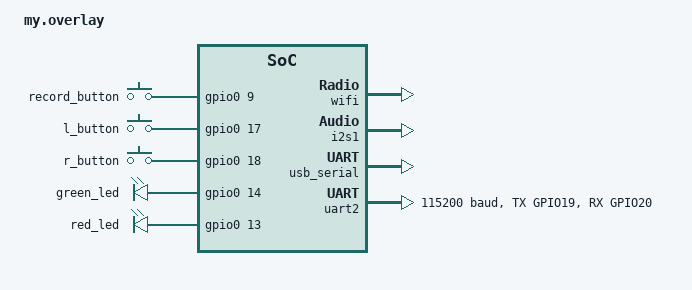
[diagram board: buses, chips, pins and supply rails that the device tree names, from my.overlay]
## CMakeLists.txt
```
cmake_minimum_required(VERSION 3.20.0)

set(BOARD esp32s3_devkitc/esp32s3/procpu)
# set(BOARD ttgo_lora32/esp32/procpu) 


set(DTC_OVERLAY_FILE ${CMAKE_CURRENT_SOURCE_DIR}/my.overlay) 
find_package(Zephyr REQUIRED HINTS $ENV{ZEPHYR_BASE})
project(wifi_example)

target_sources(app PRIVATE src/main.cpp)
target_sources(app PRIVATE src/sound_recording.cpp)
target_sources(app PRIVATE src/access_point.cpp)
target_sources(app PRIVATE src/sound_queue.cpp)
target_sources(app PRIVATE src/network_com.cpp)
target_sources(app PRIVATE src/user_buttons.cpp)
target_sources(app PRIVATE src/speach.cpp)
target_sources(app PRIVATE src/led_controler.cpp)
```

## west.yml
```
manifest:
  remotes:
    - name: zephyrproject-rtos
      url-base: https://github.com/zephyrproject-rtos
    - name: babblesim
      url-base: https://github.com/BabbleSim

  projects:
    - name: zephyr
      remote: zephyrproject-rtos
      revision: v4.1.0
      import: true

  self:
    path: rtk_station
    west-commands: scripts/west-commands.yml
```

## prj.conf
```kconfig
CONFIG_LOG=y
CONFIG_CPP=y
CONFIG_REQUIRES_FULL_LIBC=y
CONFIG_REQUIRES_FULL_LIBCPP=y
CONFIG_DEBUG=y
# CONFIG_DEBUG_COREDUMP=y
# CONFIG_DEBUG_COREDUMP_BACKEND_LOGGING=y
CONFIG_MAIN_THREAD_PRIORITY=10

#fancy led 
# CONFIG_LED_STRIP=y


CONFIG_CONSOLE_SUBSYS=y
CONFIG_CONSOLE_GETLINE=y

CONFIG_UART_INTERRUPT_DRIVEN=y

CONFIG_I2S=y

# Wi-Fi ConfigurationP
CONFIG_WIFI=y
CONFIG_WIFI_ESP32=y

# ip settings
CONFIG_NET_CONFIG_SETTINGS=y
CONFIG_NET_CONFIG_MY_IPV4_NETMASK="255.255.255.0"
CONFIG_NET_CONFIG_MY_IPV4_ADDR="192.168.4.1"

# Network Configuration
CONFIG_NET_CONFIG_AUTO_INIT=n
CONFIG_NET_CONNECTION_MANAGER=y
CONFIG_NET_DHCPV4=y
CONFIG_NET_DHCPV4_SERVER=y
CONFIG_NET_DHCPV4_SERVER_ADDR_COUNT=1
CONFIG_NET_IF_MAX_IPV4_COUNT=2
CONFIG_NET_IF_MAX_IPV6_COUNT=2
CONFIG_NET_IPV4=y
CONFIG_NET_L2_ETHERNET=y
CONFIG_NET_L2_WIFI_MGMT=y
CONFIG_NET_MGMT=y
CONFIG_NET_MGMT_EVENT=y
CONFIG_NET_MGMT_EVENT_INFO=y
CONFIG_NET_MGMT_EVENT_QUEUE_SIZE=10
CONFIG_NET_MGMT_EVENT_STACK_SIZE=4096
CONFIG_NET_PKT_RX_COUNT=16
CONFIG_NET_PKT_TX_COUNT=48
CONFIG_NET_SOCKETS_SERVICE_STACK_SIZE=4096
CONFIG_NET_TCP=y
CONFIG_NET_UDP=y
CONFIG_NETWORKING=y


# LOG Configuration
# CONFIG_NET_LOG=y
CONFIG_NET_DHCPV4_SERVER_LOG_LEVEL_DBG=y
```

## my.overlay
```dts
&wifi {
    status = "okay";
};

/ {
	buttons {
        record_button: record_button {
            gpios = <&gpio0 9 0>;
        };
    };
	wifi_ap: wifi_ap {
		compatible = "espressif,esp32-wifi";
		status = "okay";
	};

	// console over usb (when uncommented -> console is over uart)
	// chosen {
	// 	zephyr,console = &usb_serial;
	// 	zephyr,shell-uart = &usb_s erial;
	// };

	buttons {
		compatible = "gpio-keys";
		status= "okay";
		l_button: l_button {
			gpios = <&gpio0 17 0>;
		};
		r_button: r_button {
			gpios = <&gpio0 18 0>;
		};
	};

	
	leds {
        compatible = "gpio-leds";
        green_led: green_led{
            gpios = <&gpio0 14 GPIO_ACTIVE_HIGH>;
        };
		red_led: red_led{
            gpios = <&gpio0 13 GPIO_ACTIVE_HIGH>;
        };
    };
	
};

&pinctrl {
	i2s1_pinconf: i2s1_pinconf {
		group1 {
			pinmux = <I2S0_MCLK_GPIO42>,
					 <I2S1_I_WS_GPIO15>,
					 <I2S1_I_BCK_GPIO4>;
			output-enable;
		};
		group2 {
			pinmux = <I2S1_I_SD_GPIO5>;
			input-enable;
		};
	};
	uart2_default: uart2_default {
		group1 {
			pinmux = < UART2_TX_GPIO19 >;
			output-high;
		};
		group2 {
			pinmux = < UART2_RX_GPIO20 >;
			bias-pull-up;
		};
	};
};

i2s_rx: &i2s1 {
	status = "okay";

	pinctrl-0 = <&i2s1_pinconf>;
	pinctrl-names = "default";

	dmas = <&dma 4>;
	dma-names = "rx";
};

&dma {
	status = "okay";
};


&usb_serial {
    status = "okay";
};

&uart2 {
    status = "okay";
    pinctrl-0 = <&uart2_default>;
    pinctrl-names = "default";
    current-speed = < 115200 >;
};
```

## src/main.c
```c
/*
* Copyright (c) 2024 Muhammad Haziq
*
* SPDX-License-Identifier: Apache-2.0
*/

#include <zephyr/kernel.h>
#include <zephyr/logging/log.h>
#include <zephyr/net/wifi_mgmt.h>
#include <zephyr/net/socket.h>
#include <zephyr/net/dhcpv4_server.h>
#include <zephyr/console/console.h>

#include <stdlib.h>

LOG_MODULE_REGISTER(MAIN);

#define STACK_SIZE 4096  // Stack size for the thread
#define PRIORITY 0       // Thread priority

static struct k_sem pc_connected;
#define SERVER_IP "192.168.4.12"  // Change to your PC's IP

void identify_caller(void) {
    struct k_thread *current_thread = k_current_get();
    const char *thread_name = k_thread_name_get(current_thread);

    LOG_INF("Function called by thread: %s (ID: %p)\n",
           thread_name ? thread_name : "Unnamed", current_thread);
}

void thread_function(void *arg1, void *arg2, void *arg3)
{
    console_getline_init();
    identify_caller();
    k_sem_take(&pc_connected, K_FOREVER);
    int rc;
    struct sockaddr_in server_addr;
    int sock;
    char msg[1024];
    memset(msg, (int)'a', sizeof(msg));
    
    sock = zsock_socket(AF_INET, SOCK_STREAM, IPPROTO_TCP);
    if (sock < 0)
        return;
    LOG_INF("type in a port number: ");
    char *port_str = console_getline();
    int port_int = atoi(port_str);
    LOG_INF("sock %d, p_str %s, p_int%d",sock, port_str, port_int);
    server_addr.sin_family = AF_INET;
    server_addr.sin_port = htons(port_int);
    
    zsock_inet_pton(AF_INET, SERVER_IP, &(server_addr.sin_addr));

    while (1)
    {
        rc = zsock_connect(sock, (struct sockaddr *)&server_addr, sizeof(server_addr));

        if (rc < 0)
            printk("Failed to connect to server %d \n", rc);
        else 
            break;
        k_sleep(K_MSEC(1000));
    }
    int64_t stop = 0;
    int64_t start = k_uptime_get();
    for (int i = 0; i < 100; )
    {   
        rc = zsock_send(sock, msg, sizeof(msg) , 0);
        if (rc == sizeof(msg))
            ++i;
        printk("%d\n", rc);
    }
    stop = k_uptime_get();
    k_sleep(K_MSEC(3000));
    LOG_INF("time = %lld , stop %lld, start %lld", stop -start, stop, start);
    printk("%lld %lld\n", start, stop);


    zsock_close(sock);
}

K_THREAD_STACK_DEFINE(my_stack, STACK_SIZE);
static struct k_thread my_thread;

#define MACSTR "%02X:%02X:%02X:%02X:%02X:%02X"

#define NET_EVENT_WIFI_MASK                                                                    \
    (NET_EVENT_WIFI_CONNECT_RESULT | NET_EVENT_WIFI_DISCONNECT_RESULT |                        \
    NET_EVENT_WIFI_AP_ENABLE_RESULT | NET_EVENT_WIFI_AP_DISABLE_RESULT |                      \
    NET_EVENT_WIFI_AP_STA_CONNECTED | NET_EVENT_WIFI_AP_STA_DISCONNECTED)

/* AP Mode Configuration */
#define WIFI_AP_SSID       "ESP32-AP"
#define WIFI_AP_PSK        ""
#define WIFI_AP_IP_ADDRESS "192.168.4.1"
#define WIFI_AP_NETMASK    "255.255.255.0"


static struct k_sem pc_conect_sem; 

static struct net_if *ap_iface;

static struct wifi_connect_req_params ap_config;

static struct net_mgmt_event_callback cb;

static void wifi_event_handler(struct net_mgmt_event_callback *cb, uint32_t mgmt_event,
                    struct net_if *iface)
{
    switch (mgmt_event) {
    case NET_EVENT_WIFI_AP_ENABLE_RESULT: {
        LOG_INF("AP Mode is enabled. Waiting for station to connect");
        break;
    }
    case NET_EVENT_WIFI_AP_DISABLE_RESULT: {
        LOG_INF("AP Mode is disabled.");
        break;
    }
    case NET_EVENT_WIFI_AP_STA_CONNECTED: {
        struct wifi_ap_sta_info *sta_info = (struct wifi_ap_sta_info *)cb->info;

        LOG_INF("station: " MACSTR " joined ", sta_info->mac[0], sta_info->mac[1],
            sta_info->mac[2], sta_info->mac[3], sta_info->mac[4], sta_info->mac[5]);
        k_sem_give(&pc_connected);
        break;
    }
    case NET_EVENT_WIFI_AP_STA_DISCONNECTED: {
        struct wifi_ap_sta_info *sta_info = (struct wifi_ap_sta_info *)cb->info;

        LOG_INF("station: " MACSTR " leave ", sta_info->mac[0], sta_info->mac[1],
            sta_info->mac[2], sta_info->mac[3], sta_info->mac[4], sta_info->mac[5]);
        break;
    }
    default:
        LOG_INF("evend %d ", mgmt_event);
        break;
    }
}

static void enable_dhcpv4_server(void)
{
    static struct in_addr addr;
    static struct in_addr netmaskAddr;

    if (net_addr_pton(AF_INET, WIFI_AP_IP_ADDRESS, &addr)) {
        LOG_ERR("Invalid address: %s", WIFI_AP_IP_ADDRESS);
        return;
    }

    if (net_addr_pton(AF_INET, WIFI_AP_NETMASK, &netmaskAddr)) {
        LOG_ERR("Invalid netmask: %s", WIFI_AP_NETMASK);
        return;
    }

    net_if_ipv4_set_gw(ap_iface, &addr);

    if (net_if_ipv4_addr_add(ap_iface, &addr, NET_ADDR_MANUAL, 0) == NULL) {
        LOG_ERR("unable to set IP address for AP interface");
    }

    if (!net_if_ipv4_set_netmask_by_addr(ap_iface, &addr, &netmaskAddr)) {
        LOG_ERR("Unable to set netmask for AP interface: %s", WIFI_AP_NETMASK);
    }

    addr.s4_addr[3] += 10; /* Starting IPv4 address for DHCPv4 address pool. */

    if (net_dhcpv4_server_start(ap_iface, &addr) != 0) {
        LOG_ERR("DHCP server is not started for desired IP");
        return;
    }

    LOG_INF("DHCPv4 server started...\n");
}

static int enable_ap_mode(void)
{
    if (!ap_iface) {
        LOG_INF("AP: is not initialized");
        return -EIO;
    }

    LOG_INF("Turning on AP Mode");
    ap_config.ssid = (const uint8_t *)WIFI_AP_SSID;
    ap_config.ssid_length = strlen(WIFI_AP_SSID);
    ap_config.psk = (const uint8_t *)WIFI_AP_PSK;
    ap_config.psk_length = strlen(WIFI_AP_PSK);
    ap_config.channel = WIFI_CHANNEL_ANY;
    ap_config.band = WIFI_FREQ_BAND_2_4_GHZ;

    if (strlen(WIFI_AP_PSK) == 0) {
        ap_config.security = WIFI_SECURITY_TYPE_NONE;
    } else {

        ap_config.security = WIFI_SECURITY_TYPE_PSK;
    }

    enable_dhcpv4_server();

    int ret = net_mgmt(NET_REQUEST_WIFI_AP_ENABLE, ap_iface, &ap_config,
                sizeof(struct wifi_connect_req_params));
    if (ret) {
        LOG_ERR("NET_REQUEST_WIFI_AP_ENABLE failed, err: %d", ret);
    }

    return ret;
}

void print_thread_info(struct k_thread *thread, void *user_data) {
	const char *name = k_thread_name_get(thread);
	int priority = k_thread_priority_get(thread);

	printk("Thread: %s (ID: %p) | Priority: %d\n",
		   name ? name : "Unnamed", thread, priority);
}


int main(void)
{
    k_sem_init(&pc_connected, 0, 1);
    k_thread_create(&my_thread, my_stack, STACK_SIZE,
		thread_function, NULL, NULL, NULL,
		PRIORITY, 0, K_NO_WAIT);
    // k_sleep(K_SECONDS(5));;
    int rc;
    rc = k_sem_init(&pc_conect_sem, 0, 1);
    if (rc < 0)
    {
        LOG_ERR("nef");
        return -1;
    }

    net_mgmt_init_event_callback(&cb, wifi_event_handler, NET_EVENT_WIFI_MASK);
    net_mgmt_add_event_callback(&cb);

    ap_iface = net_if_get_wifi_sap();

    enable_ap_mode();


    return 0;
}
```

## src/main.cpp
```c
#include <zephyr/kernel.h>
#include <zephyr/net/socket.h>
#include <zephyr/console/console.h>

#include <stdlib.h>

#include "access_point.h"
#include "sound_recording.h"
#include "sound_queue.h"
#include "network_com.h"
#include "user_buttons.h"
#include "speach.h"
#include "led_controler.h"


#include <zephyr/logging/log.h>
LOG_MODULE_REGISTER(MAIN, LOG_LEVEL_DBG);

#define SERVER_IP "192.168.4.11"
#define SERVER_PORT 2803           


static SoundQueue s_queue;
static I2SWrapper sound_wrapper(&s_queue);

void waiting(void *arg1, void *arg2, void *arg3);

K_SEM_DEFINE(pc_connected_sem, 0, 1);
K_THREAD_DEFINE(server_connect_th, 4096, waiting, NULL, NULL, NULL, 9, 0, 0);

int main(void)
{
    if (sound_wrapper.isReady())
        LOG_INF("i2s is ready");
    
    LOG_INF("Waiting for pc to connect...");
    AccessPointEsp32::getInstance().addOnConnectSemaphore(&pc_connected_sem);
    AccessPointEsp32::getInstance().start();
    k_sleep(K_FOREVER);
}

void waiting(void *arg1, void *arg2, void *arg3)
{
    int rc;
    k_sem_take(&pc_connected_sem, K_FOREVER);
    LOG_INF("PC connected");
    led_set_mode(LED_WAITING_FOR_SERVER);
    
    LOG_INF("Connecting to the server... ");
    NetworkCom network_com(&s_queue);
    rc = network_com.connect(SERVER_IP, SERVER_PORT, SERVER_PORT+1);
    if (rc < 0)
    {
        LOG_INF("Connection failed");
    }
    else
    {
        LOG_INF("Connection success");
        led_set_mode(LED_READY);
    }

    Speach::getInstance().init();

    UserButtons::getInstance().setNetworkCom(&network_com);
    UserButtons::getInstance().setSoundRecording(&sound_wrapper);
    UserButtons::getInstance().enableButtons(true);
    
    k_sleep(K_FOREVER);
    return;
}
```

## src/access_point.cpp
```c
#include "access_point.h"

#include <zephyr/logging/log.h>

LOG_MODULE_REGISTER(AccessPointEsp32);

#define NET_EVENT_WIFI_MASK                                                                    \
	(NET_EVENT_WIFI_CONNECT_RESULT | NET_EVENT_WIFI_DISCONNECT_RESULT |                        \
	 NET_EVENT_WIFI_AP_ENABLE_RESULT | NET_EVENT_WIFI_AP_DISABLE_RESULT |                      \
	 NET_EVENT_WIFI_AP_STA_CONNECTED | NET_EVENT_WIFI_AP_STA_DISCONNECTED)
#define MACSTR "%02X:%02X:%02X:%02X:%02X:%02X"

struct k_sem *AccessPointEsp32::_on_connect_sem = NULL;


AccessPointEsp32& AccessPointEsp32::getInstance()
{
	static AccessPointEsp32 instance;
    return instance;
}

int AccessPointEsp32::start()
{
	net_mgmt_init_event_callback(&_cb,
					wifiEventHandler,
	 				NET_EVENT_WIFI_MASK);
	net_mgmt_add_event_callback(&_cb);

	/* Get AP interface in AP-STA mode. */
	_ap_iface = net_if_get_wifi_sap();

	return enableApMode();
}

void AccessPointEsp32::wifiEventHandler(struct net_mgmt_event_callback *cb, uint32_t mgmt_event,
			    struct net_if *iface)
{
	switch (mgmt_event)
	{
	case NET_EVENT_WIFI_AP_ENABLE_RESULT:
	{
		LOG_INF("AP Mode is enabled. Waiting for station to connect");
		break;
	}
	case NET_EVENT_WIFI_AP_DISABLE_RESULT:
	{
		LOG_INF("AP Mode is disabled.");
		break;
	}
	case NET_EVENT_WIFI_AP_STA_CONNECTED:
	{
		struct wifi_ap_sta_info *sta_info = (struct wifi_ap_sta_info *)cb->info;
		LOG_INF("station: " MACSTR " joined ", sta_info->mac[0], sta_info->mac[1],
			sta_info->mac[2], sta_info->mac[3], sta_info->mac[4], sta_info->mac[5]);
		if (!k_is_in_isr()) {
			k_sem_give(_on_connect_sem);
			LOG_ERR("not isr");

		} else {
			LOG_ERR("Tried to give semaphore from ISR!");
		}
		break;
	}
	case NET_EVENT_WIFI_AP_STA_DISCONNECTED:
	{
		struct wifi_ap_sta_info *sta_info = (struct wifi_ap_sta_info *)cb->info;
		LOG_INF("station: " MACSTR " leave ", sta_info->mac[0], sta_info->mac[1],
			sta_info->mac[2], sta_info->mac[3], sta_info->mac[4], sta_info->mac[5]);
		break;
	}
	default:
        LOG_INF("wifiEventHandler unknown event: %d", mgmt_event);
		break;
	}
};

int AccessPointEsp32::enableDhcpv4Server(void)
{
	if (net_addr_pton(AF_INET, CONFIG_NET_CONFIG_MY_IPV4_ADDR, &_addr))
	{
		LOG_ERR("Invalid address: %s", CONFIG_NET_CONFIG_MY_IPV4_ADDR);
		return -1;
	}

	if (net_addr_pton(AF_INET, CONFIG_NET_CONFIG_MY_IPV4_NETMASK , &_netmask_addr))
	{
		LOG_ERR("Invalid netmask: %s", CONFIG_NET_CONFIG_MY_IPV4_NETMASK);
		return -1;
	}

	net_if_ipv4_set_gw(_ap_iface, &_addr);

	if (net_if_ipv4_addr_add(_ap_iface, &_addr, NET_ADDR_MANUAL, 0) == NULL)
	{
		LOG_ERR("unable to set IP address for AP interface");
		return -1;
	}

	if (!net_if_ipv4_set_netmask_by_addr(_ap_iface, &_addr, &_netmask_addr))
	{
		LOG_ERR("Unable to set netmask for AP interface: %s", CONFIG_NET_CONFIG_MY_IPV4_NETMASK);
		return -1;
	}

	_addr.s4_addr[3] += 10; // Starting IPv4 address for DHCPv4 address pool.

	if (net_dhcpv4_server_start(_ap_iface, &_addr) != 0)
	{
		LOG_ERR("DHCP server is not started for desired IP");
		return -1;
	}

	LOG_INF("DHCPv4 server started...\n");
	return 0;
};

int AccessPointEsp32::enableApMode(void)
{
    if (!_ap_iface)
    {
        LOG_ERR("AP: is not initialized");
        return -1;
    }

    LOG_INF("Turning on AP Mode");
    _ap_config.ssid = (const uint8_t *)WIFI_AP_SSID;
	_ap_config.ssid_length = strlen(WIFI_AP_SSID);
	_ap_config.psk = (const uint8_t *)WIFI_AP_PSK;
	_ap_config.psk_length = strlen(WIFI_AP_PSK);
	_ap_config.channel = WIFI_CHANNEL_ANY;
	_ap_config.band = WIFI_FREQ_BAND_2_4_GHZ;


	if (strlen(WIFI_AP_PSK) == 0)
    {
		_ap_config.security = WIFI_SECURITY_TYPE_NONE;
	}
    else
    {
		_ap_config.security = WIFI_SECURITY_TYPE_PSK;
	}

    if (0 != enableDhcpv4Server())
    {
        LOG_ERR("enableDhcpv4Server");
        return -1;
    }

    int mgmt_res = net_mgmt(NET_REQUEST_WIFI_AP_ENABLE, _ap_iface, &_ap_config,
			   sizeof(struct wifi_connect_req_params));
	if (mgmt_res) {
		LOG_ERR("NET_REQUEST_WIFI_AP_ENABLE failed, err: %d", mgmt_res);
        return -1;
	}

	return 0;
};


void AccessPointEsp32::addOnConnectSemaphore(struct k_sem *sem)
{
	_on_connect_sem = sem;
}
```

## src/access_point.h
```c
#ifndef ACCESS_POINT_H
#define ACCESS_POINT_H

#include <zephyr/kernel.h>
#include <zephyr/net/wifi_mgmt.h>
#include <zephyr/net/dhcpv4_server.h>

constexpr const char WIFI_AP_SSID[] =   "ttgo_lora32";
constexpr const char WIFI_AP_PSK[] =    "";

class AccessPointEsp32
{
public:
    static AccessPointEsp32& getInstance();
    void addOnConnectSemaphore(struct k_sem *sem);
    int start();

private:
    AccessPointEsp32() = default;
    AccessPointEsp32 (const AccessPointEsp32&) = delete;
    AccessPointEsp32& operator=(const AccessPointEsp32&) = delete;

    static void wifiEventHandler(struct net_mgmt_event_callback *cb, uint32_t mgmt_event,
			       struct net_if *iface);
    int enableDhcpv4Server(void);
    int enableApMode(void);

    struct net_if *_ap_iface;
    struct wifi_connect_req_params _ap_config;
    struct net_mgmt_event_callback _cb;
    struct in_addr _addr;
	struct in_addr _netmask_addr;

    static struct k_sem *_on_connect_sem;
};
#endif
```

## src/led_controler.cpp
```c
#include "led_controler.h"

#include <zephyr/kernel.h>
#include <zephyr/device.h>
#include <zephyr/drivers/gpio.h>

#include <zephyr/logging/log.h>
LOG_MODULE_REGISTER(leds, LOG_LEVEL_DBG);


static led_mode_t s_mode = LED_WAITING_FOR_CONNECTION;
static bool s_new_mode = true;
static const struct gpio_dt_spec s_green_led = 
    GPIO_DT_SPEC_GET(DT_NODELABEL(green_led), gpios);
static const struct gpio_dt_spec s_red_led = 
    GPIO_DT_SPEC_GET(DT_NODELABEL(red_led), gpios);

void led_control(void*, void*, void*);

K_THREAD_DEFINE(leds, 1024, led_control, NULL, NULL, NULL, 10, 0, 0);


void led_control(void *, void *, void *)
{
    if (!device_is_ready(s_green_led.port))
    {
        LOG_ERR("led device not ready");
        return;
    }
    gpio_pin_configure_dt(&s_green_led, GPIO_OUTPUT_ACTIVE);
    gpio_pin_configure_dt(&s_red_led, GPIO_OUTPUT_ACTIVE);

    while (1)
    {
        if (s_new_mode)
        {
            s_new_mode = false;
            switch (s_mode)
            {
            case LED_WAITING_FOR_CONNECTION:
                gpio_pin_set_dt(&s_green_led, 0);
                gpio_pin_set_dt(&s_red_led, 1);
                break;
            case LED_WAITING_FOR_SERVER:
                gpio_pin_set_dt(&s_green_led, 1);
                gpio_pin_set_dt(&s_red_led, 1);
                break;
            case LED_WAITING_FOR_RESPONSE:
                gpio_pin_set_dt(&s_green_led, 1);
                gpio_pin_set_dt(&s_red_led, 0);
                break;
            case LED_READY:
                gpio_pin_set_dt(&s_green_led, 1);   
                gpio_pin_set_dt(&s_red_led, 0);
                break;
            case LED_RECORDING:
                gpio_pin_set_dt(&s_green_led, 1);   
                gpio_pin_set_dt(&s_red_led, 0);
                break;
            default:
                break;
            }
        }
        else
        {
            switch (s_mode)
            {
            case LED_WAITING_FOR_CONNECTION:
                gpio_pin_toggle_dt(&s_red_led);
                break;
            case LED_WAITING_FOR_SERVER:
            case LED_WAITING_FOR_RESPONSE:
                gpio_pin_toggle_dt(&s_red_led);
                gpio_pin_toggle_dt(&s_green_led);
                break;
            case LED_READY:
                break;
            case LED_RECORDING:
                gpio_pin_toggle_dt(&s_green_led);
                break;
            default:
                break;
            }
        }
        k_msleep(500);
    }

}


void led_set_mode(led_mode_t mode)
{
    s_mode = mode;
    s_new_mode = true;
}
```

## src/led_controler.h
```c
#ifndef LED_CONTROLLER_H_
#define LED_CONTROLLER_H_


typedef enum {
    LED_WAITING_FOR_CONNECTION = 0, // red toggles
    LED_WAITING_FOR_SERVER,         // both toggles
    LED_WAITING_FOR_RESPONSE,       // both toggles in oposite phase
    LED_RECORDING,                  // green toggles
    LED_READY,                      // green on
} led_mode_t;


void led_set_mode(led_mode_t mode);

#endif // LED_CONTROLLER_HPP
```

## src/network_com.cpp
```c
#include "network_com.h"
#include "speach.h"
#include "led_controler.h"

#include <zephyr/logging/log.h>
LOG_MODULE_REGISTER(NetworkCommunication, LOG_LEVEL_DBG);

#define UDP_PRIORITY 0
#define UDP_STACK_SIZE 4096
K_THREAD_STACK_DEFINE(udp_tx_stack, UDP_STACK_SIZE);

#define TCP_PRIORITY 10
#define TCP_STATCK_SIZE 4096
K_THREAD_STACK_DEFINE(tcp_rx_stack, TCP_STATCK_SIZE);




NetworkCom::NetworkCom(SoundQueue *queue)
    : _data_queue(queue)
{
    if (0 != k_sem_init(&_udp_socket_sem, 0, 1))
        LOG_ERR("sem init error");
    if (0 != k_sem_init(&_tcp_socket_sem, 0, 1))
        LOG_ERR("sem init error");

    k_thread_create(&_udp_tx_thread, udp_tx_stack, UDP_STACK_SIZE,
                    NetworkCom::txLoop, this, NULL, NULL,
                    UDP_PRIORITY, 0, K_NO_WAIT);

    k_thread_create(&_tcp_rx_thread, tcp_rx_stack, TCP_STATCK_SIZE,
                    NetworkCom::rxLoop, this, NULL, NULL,
                    TCP_PRIORITY, 0, K_NO_WAIT);    
}

int NetworkCom::tryConnectSocket(int sock)
{
    int rc;
    rc = zsock_connect(sock, (struct sockaddr *)&_server_addr, sizeof(_server_addr));
    LOG_INF("zsock_connect rc: %d", rc);
    return rc;
}

int NetworkCom::connect(const char* ip, int port_udp, int port_tcp)
{
    LOG_INF("connecting tcp: ip: %s, port_tcp: %d, port_udp: %d", ip, port_tcp, port_udp);
    _server_addr.sin_family = AF_INET;
    zsock_inet_pton(AF_INET, ip, &(_server_addr.sin_addr));
    
    // tcp_sock
    _server_addr.sin_port = htons(port_tcp);

    while (1)
    {
        _tcp_sock = zsock_socket(AF_INET, SOCK_STREAM, IPPROTO_TCP);
        if (_tcp_sock < 0)
        {
            k_msleep(1000);
            LOG_ERR("zcok_socket tcp errr");
            continue;
        }
        if (0 == tryConnectSocket(_tcp_sock))
            break;
        
        LOG_ERR("zsock_connect err");
        zsock_close(_tcp_sock);
        k_msleep(1000);
    }
    
    // udp_sock
    LOG_INF("connecting udp");
    _server_addr.sin_port = htons(port_udp);
    while (1)
    {
        _udp_sock = zsock_socket(AF_INET, SOCK_DGRAM, IPPROTO_UDP);
        if (_udp_sock < 0)
        {
            k_msleep(1000);
            LOG_ERR("zcok_socket udp errr");
            continue;
        }
        if (0 == tryConnectSocket(_udp_sock))
            break;
        
        LOG_ERR("zsock_connect err");
        zsock_close(_udp_sock);
        k_msleep(1000);
    }

    k_sem_give(&_tcp_socket_sem);
    k_sem_give(&_udp_socket_sem);

    return 0;
}


void NetworkCom::txLoop(void *network_com_ptr, void *arg2, void *arg3)
{
    NetworkCom *this_ptr = static_cast<NetworkCom *>(network_com_ptr);
    uint16_t *data_ptr;

    k_sem_take(&this_ptr->_udp_socket_sem, K_FOREVER);
    LOG_INF("txLoop: udp socket binded");
    
    while (1)
    {
        this_ptr->_data_queue->waitForContainer();
        this_ptr->_data_queue->getRearContainer(data_ptr);
        zsock_send(this_ptr->_udp_sock, data_ptr, SOUND_Q_SIZE_OF_CONTAINER * 2, 0);  // *2 because the datata_ptr is int16_t
        this_ptr->_data_queue->pop();
    }
}

void NetworkCom::rxLoop(void *network_com_ptr, void *arg2, void *arg3)
{
    NetworkCom *this_ptr = static_cast<NetworkCom *>(network_com_ptr);
    
    k_sem_take(&this_ptr->_tcp_socket_sem, K_FOREVER);
    LOG_INF("rxLoop: tcp socket binded");

    uint8_t msg_buf[256];
    int rc;

    while (1)
    {
        rc = zsock_recv(this_ptr->_tcp_sock, msg_buf, sizeof(msg_buf), 0);
        if (rc > 0)
        {
            LOG_HEXDUMP_INF(msg_buf, (uint32_t)rc, "rxLoop: msg");
            msg_buf[rc] = '\0';
            Speach::getInstance().speak((char*)msg_buf);
            led_set_mode(LED_READY);
        }
        
    }
}


int NetworkCom::startRecording()
{
    return sendDataTCP(MAP_START_RECORDING, sizeof(MAP_START_RECORDING));
}


int NetworkCom::stopRecording()
{
    return sendDataTCP(MAP_STOP_RECORDING, sizeof(MAP_STOP_RECORDING));
}


int NetworkCom::sendDataTCP(const uint8_t *data, size_t len)
{
    ssize_t rc = zsock_send(_tcp_sock, data, len, 0);
    if (rc > 0)
        return 0;
    return -1;
}
```

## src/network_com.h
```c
#ifndef TCP_COM_H_
#define TCP_COM_H_

#include "sound_queue.h"
#include <zephyr/kernel.h>
#include <zephyr/net/socket.h>


// MAP (Micorphone AI Protocol)
constexpr uint8_t MAP_START_RECORDING[] = "start";
constexpr uint8_t MAP_STOP_RECORDING[]  = "stop"; 
constexpr uint8_t MAP_RESPONSE_HEADER[] = "r::";
constexpr uint8_t MAP_RESPONSE_END[] = "::e";

class NetworkCom
{
public:
    NetworkCom(SoundQueue *queue);

    int connect(const char* ip, int port_udp, int port_tcp);

    int startRecording();
    int stopRecording();

private:
    static void txLoop(void *network_com_ptr, void *arg2, void *arg3);
    static void rxLoop(void *network_com_ptr, void *arg2, void *arg3);
    int tryConnectSocket(int sock);
    int sendDataTCP(const uint8_t *data, size_t len);

    SoundQueue *_data_queue = NULL;
    struct k_thread _udp_tx_thread;
    struct k_thread _tcp_rx_thread;
    int _udp_sock = -1;
    int _tcp_sock = -1;

    /* Notifiy txLoop that udp soctek was binded  */
    struct k_sem _udp_socket_sem;  
    /* Notify rxLoop that tcp socket was binded*/
    struct k_sem _tcp_socket_sem;
    
    struct sockaddr_in _server_addr;
};


#endif // TCP_COM_H_
```

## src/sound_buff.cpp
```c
#include "sound_buff.h"

#include <zephyr/logging/log.h>
LOG_MODULE_REGISTER(sound_queue, LOG_LEVEL_ERR);

uint16_t BUFFERS[SOUND_Q_NOF_BUF][SOUND_Q_SIZE_OF_CONTAINER] = {0};

SoundQueue::SoundQueue()
{
    _buffers = BUFFERS;
    
    int rc = k_mutex_init(&_mtx);
    if (rc < 0 )
    {
        LOG_ERR("k_mutex_init failed rc: %d", rc);
    }

    rc = k_sem_init(&_capacity_sem, 0, SOUND_Q_NOF_BUF);
    if (rc < 0)
    {
        LOG_ERR("k_sem_init failed rc: %d", rc);
    }
}

void SoundQueue::pop()
{
    k_mutex_lock(&_mtx, K_FOREVER);

    if (_capacity == 0)
    {
        k_mutex_unlock(&_mtx);
        return;
    }
    _idx_rear = (_idx_rear + 1) % SOUND_Q_NOF_BUF;
    _capacity -= 1;
    k_mutex_unlock(&_mtx);
    return;

}

void SoundQueue::push()
{
    k_mutex_lock(&_mtx, K_FOREVER);
    if (_capacity == SOUND_Q_NOF_BUF)
    {
        k_mutex_unlock(&_mtx);
        return;
    }
    _idx_front = (_idx_front + 1) % SOUND_Q_NOF_BUF;
    _capacity += 1;
    k_sem_give(&_capacity_sem);
    k_mutex_unlock(&_mtx);
    return;
}


bool SoundQueue::getFrontContainer(uint16_t*& container)
{
    k_mutex_lock(&_mtx, K_FOREVER);
    if (_capacity == SOUND_Q_NOF_BUF)
    {
        k_mutex_unlock(&_mtx);
        return false;
    }
    container = _buffers[_idx_front];
    k_mutex_unlock(&_mtx);
    return true;
}


bool SoundQueue::getRearContainer(uint16_t*& containter)
{
    k_mutex_lock(&_mtx, K_FOREVER);
    if (_capacity == 0)
    {
        k_mutex_unlock(&_mtx);
        return false;
    }
    containter = _buffers[_idx_rear];
    k_mutex_unlock(&_mtx);
    return true;
}


void SoundQueue::waitForContainer()
{
    k_sem_take(&_capacity_sem, K_FOREVER);
}
```

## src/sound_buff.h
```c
#ifndef SOUND_QUEUE_H_
#define SOUND_QUEUE_H_

#include <stddef.h>
#include <stdint.h>
#include <zephyr/kernel.h>

/**
 * Queue capacity is 64 * 0.5 kB = 32 kB
 * I2S sampling rate is 16 kSamples/s 
 * One sample has 2Bytes 
 * This queue can store up to 1s of recording
 */ 
class SoundQueue
{

static constexpr size_t NOF_BUF = 64;
static constexpr size_t SIZE_OF_CONTAINER = 512;

public:
    bool pop();
    bool push();
    bool getFrontContainer(uint8_t* container);
    bool getRearContainer(uint8_t* containter);
    inline size_t getContainerSize() const;

private:
    uint8_t _buffers[NOF_BUF][SIZE_OF_CONTAINER];
    size_t _idx_front = 0;
    size_t _idx_rear = 0;
    size_t _capacity = 0;
};


inline size_t SoundQueue::getContainerSize() const
{
    return SIZE_OF_CONTAINER;
}

#endif // SOUND_QUEUE_H_
```

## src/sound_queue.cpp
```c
#include "sound_queue.h"

#include <zephyr/logging/log.h>
LOG_MODULE_REGISTER(sound_queue, LOG_LEVEL_ERR);

uint16_t BUFFERS[SOUND_Q_NOF_BUF][SOUND_Q_SIZE_OF_CONTAINER] = {0};

SoundQueue::SoundQueue()
{
    _buffers = BUFFERS;
    
    int rc = k_mutex_init(&_mtx);
    if (rc < 0 )
    {
        LOG_ERR("k_mutex_init failed rc: %d", rc);
    }

    rc = k_sem_init(&_capacity_sem, 0, SOUND_Q_NOF_BUF);
    if (rc < 0)
    {
        LOG_ERR("k_sem_init failed rc: %d", rc);
    }
}

void SoundQueue::pop()
{
    k_mutex_lock(&_mtx, K_FOREVER);

    if (_capacity == 0)
    {
        k_mutex_unlock(&_mtx);
        return;
    }
    _idx_rear = (_idx_rear + 1) % SOUND_Q_NOF_BUF;
    _capacity -= 1;
    k_mutex_unlock(&_mtx);
    return;

}

void SoundQueue::push()
{
    k_mutex_lock(&_mtx, K_FOREVER);
    if (_capacity == SOUND_Q_NOF_BUF)
    {
        k_mutex_unlock(&_mtx);
        return;
    }
    _idx_front = (_idx_front + 1) % SOUND_Q_NOF_BUF;
    _capacity += 1;
    k_sem_give(&_capacity_sem);
    k_mutex_unlock(&_mtx);
    return;
}


bool SoundQueue::getFrontContainer(uint16_t*& container)
{
    k_mutex_lock(&_mtx, K_FOREVER);
    if (_capacity == SOUND_Q_NOF_BUF)
    {
        k_mutex_unlock(&_mtx);
        return false;
    }
    container = _buffers[_idx_front];
    k_mutex_unlock(&_mtx);
    return true;
}


bool SoundQueue::getRearContainer(uint16_t*& containter)
{
    k_mutex_lock(&_mtx, K_FOREVER);
    if (_capacity == 0)
    {
        k_mutex_unlock(&_mtx);
        return false;
    }
    containter = _buffers[_idx_rear];
    k_mutex_unlock(&_mtx);
    return true;
}


void SoundQueue::waitForContainer()
{
    k_sem_take(&_capacity_sem, K_FOREVER);
}
```

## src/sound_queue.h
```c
#ifndef SOUND_QUEUE_H_
#define SOUND_QUEUE_H_

#include <stddef.h>
#include <stdint.h>
#include <zephyr/kernel.h>

/**
 * Queue capacity is 64 * 0.5 kB = 32 kB
 * I2S sampling rate is 16 kSamples/s 
 * One sample has 2Bytes 
 * This queue can store up to 1s of recording
 */ 
#define SOUND_Q_NOF_BUF 20
#define SOUND_Q_SIZE_OF_CONTAINER 256

class SoundQueue
{
public:
    SoundQueue();

    /**
     * Pop from queue. Shoud be called after you process rear container,
     * obtained with getRearContainer().
     */
    void pop();

    /**
     * Push to the queu. It just advace front pointer.
     */
    void push();

    /** Get pointer to the Front containt.
     *  Might fail when the queue is full.
     */
    bool getFrontContainer(uint16_t*& container);

    /** Get the Reaar container.
     *  Might fail. But when you call waitForContainer() it will always return true.
     */
    bool getRearContainer(uint16_t*& containter);

    /**
     * Its blocking function 
     */
    void waitForContainer();
    inline size_t getContainerSize() const;

private:
    uint16_t (*_buffers)[SOUND_Q_SIZE_OF_CONTAINER];
    size_t _idx_front = 0;
    size_t _idx_rear = 0;
    size_t _capacity = 0;
    struct k_mutex _mtx; // gurards _capacity
    
    struct k_sem _capacity_sem; 
};

#endif // SOUND_QUEUE_H_
```

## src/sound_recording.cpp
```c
#include "sound_recording.h"

#include <zephyr/kernel.h>
#include <zephyr/drivers/i2s.h>

#include <zephyr/logging/log.h>
LOG_MODULE_REGISTER(sound_recording, LOG_LEVEL_DBG);

#define i2S_RX_NODE DT_NODELABEL(i2s_rx)

// sample frequency is 32000, but its two channels so 
#define SAMPLE_FREQUENCY    32000 
#define SAMPLE_BIT_WIDTH    32
/**
 * one sample is 8 bits long 4 bytes L channel 4 bytes R channel 
 * only 18 bits out of 32 bits in each channel are valid 
 */
#define SAMPLE_SIZE         8
// only 2 channels are supported
#define NUMBER_OF_CHANNELS  2   
#define INITIAL_BLOCKS      4
#define TIMEOUT             50

#define BLOCK_SIZE  SOUND_Q_SIZE_OF_CONTAINER * SAMPLE_SIZE
#define BLOCK_COUNT (INITIAL_BLOCKS + 2)
K_MEM_SLAB_DEFINE_STATIC(mem_slab, BLOCK_SIZE, BLOCK_COUNT, 4);


#define STACK_SIZE_I2S 2048
#define PRIORITY_I2S 1
K_THREAD_STACK_DEFINE(i2s_record_stack, STACK_SIZE_I2S);


I2SWrapper::I2SWrapper(SoundQueue* queue):
    _data_queue(queue)
{
    int rc;
    
    _i2s_device = DEVICE_DT_GET(i2S_RX_NODE);
    if (!device_is_ready(_i2s_device))
    {
        LOG_ERR("is2 dirver not ready");
        return;
    }
    
    struct i2s_config config;
    config.word_size = SAMPLE_BIT_WIDTH;
    config.channels = NUMBER_OF_CHANNELS;
    config.format = I2S_FMT_DATA_FORMAT_LEFT_JUSTIFIED;
    config.options = I2S_OPT_BIT_CLK_MASTER | I2S_OPT_FRAME_CLK_MASTER;
    config.frame_clk_freq = SAMPLE_FREQUENCY;
    config.mem_slab = &mem_slab;
    config.block_size = BLOCK_SIZE;
    config.timeout = TIMEOUT;
    rc = i2s_configure(_i2s_device, I2S_DIR_RX, &config);
    if (rc < 0)
    {
        LOG_ERR("i2s configuration failed rc: %d", rc);
        return;
    }


    rc = k_sem_init(&_start_recording_sem, 0, 1);
    if (rc < 0)
    {
        LOG_ERR("k_sem_init failed rc: %d", rc);
        return;
    }

    k_tid_t thread_id = k_thread_create(&_rx_thread, i2s_record_stack, STACK_SIZE_I2S,
                                        I2SWrapper::rxLoop, this, NULL, NULL,
                                        PRIORITY_I2S, 0, K_NO_WAIT);
    if (thread_id == NULL)
    {
        LOG_ERR("can not create a thread ");
        return;
    }

    _is_ready = true;
}


bool I2SWrapper::isReady()
{
    return _is_ready;
}

bool I2SWrapper::startRecording()
{
    if (!_is_ready)
        return false;

    int rc;
    rc = i2s_trigger(_i2s_device, I2S_DIR_RX, I2S_TRIGGER_START);
    if (rc < 0)
    {
        LOG_ERR("i2s_trigger START rc: %d", rc);
        return false;
    }
    k_sem_give(&_start_recording_sem);
    return true;
}

bool I2SWrapper::stopRecording()
{
    if (!_is_ready)
        return false;

    int rc;
    rc = i2s_trigger(_i2s_device, I2S_DIR_RX, I2S_TRIGGER_DROP);
    if (rc < 0)
    {
        LOG_ERR("i2s_trigger DROP rc: %d", rc);
        return false;
    }

    return true;
}


void I2SWrapper::rxLoop(void *I2SWrapper_ptr, void*, void*)
{
    I2SWrapper *i2s = static_cast<I2SWrapper*>(I2SWrapper_ptr);
    void *mem_block;
    size_t mem_size;
    int rc;
    
    while(1)
    {
        k_sem_take(&(i2s->_start_recording_sem), K_FOREVER);
        while (1)
        {
            rc = i2s_read(i2s->_i2s_device, &mem_block, &mem_size);
            if (rc == 0)
            {
                i2s->processI2SMemBlock(mem_block, mem_size);
            }
            else if (rc == -EAGAIN)
            {
                break;
            }
            else 
            {
                LOG_ERR("error reading i2s rc: %d", rc);
            }
        }
    }
}


// void I2SWrapper::processI2SMemBlock(void *mem_block, size_t size)
// {
//     static const size_t container_size = SOUND_Q_SIZE_OF_CONTAINER;
//     static uint16_t *data_container = NULL;

//     uint16_t *raw_data = (uint16_t*)mem_block;
//     if (size != (SAMPLE_SIZE * container_size))
//     {
//         LOG_ERR("mem_block has wrong size");
// 	    goto free;
//     }
    
//     if (!_data_queue->getFrontContainer(data_container))
//     {
//         LOG_ERR("queue is full");
//         goto free;
//     }

//     for (size_t i = 0; i < container_size; ++i)
//     {
//         data_container[i] = raw_data[i*4+3];
//     }

//     _data_queue->push();

// free:
// 	k_mem_slab_free(&mem_slab, mem_block);
// }



void I2SWrapper::processI2SMemBlock(void *mem_block, size_t size)
{
    static const size_t container_size = SOUND_Q_SIZE_OF_CONTAINER;
    static const size_t loop_size = SOUND_Q_SIZE_OF_CONTAINER / AVRG;
    static uint16_t *data_container = NULL;
    static int8_t loop_idx = 0; // when loop_idx == AVRG the data are queued
    size_t data_container_idx = loop_idx * loop_size;
    uint16_t *raw_data = (uint16_t*)mem_block;
    size_t corection = 1;
    int one = 0;

    // with a logic analyzer
    // int two = 0;
    // int tree = 0;
    // int four = 0;
    // for (size_t i = 0; i < 3; ++i)
    // {
    //     if (raw_data[i *4 + 0] == 0xFFFF)
    //         one += 1;
    //     if (raw_data[i *4 + 1] == 0xFFFF)
    //         ++two;
    //     if (raw_data[i *4 + 2] == 0xFFFF)
    //         ++tree;
    //     if (raw_data[i *4 + 3] == 0xFFFF)
    //         ++ four;
    // }

    for (size_t i = 0; i < 3; ++i)
    {
        if (raw_data[i *4 + 0] == 0)
            one += 1;
    }
    if (one != 0)
        corection = 3;
    
    // if (one == 1 || one == 2)
    //     LOG_HEXDUMP_DBG(raw_data, 24, "data");

    if (size != (SAMPLE_SIZE * container_size))
    {
        LOG_ERR("mem_block has wrong size");
	    goto free;
    }
    
    if (loop_idx == 0)
    {
        if (!_data_queue->getFrontContainer(data_container))
        {
            LOG_ERR("queue is full");
            goto free;
        }
    }
    
    for (size_t i = 0; i < container_size; i += AVRG)
    {
        data_container[data_container_idx++] = raw_data[i*4 + corection];
    }

    loop_idx +=1;
    if (loop_idx == AVRG)
    {
        _data_queue->push();
        loop_idx = 0;
    }

free:
	k_mem_slab_free(&mem_slab, mem_block);
}
```
